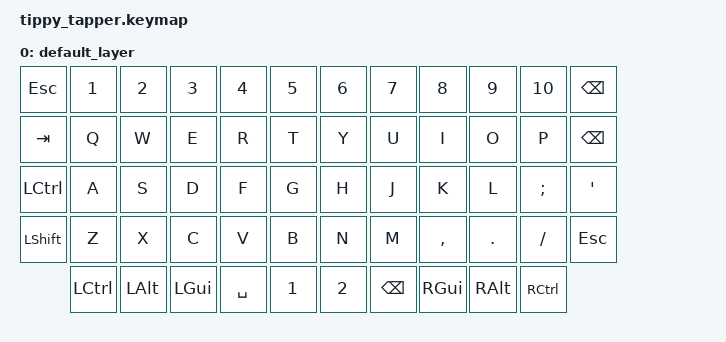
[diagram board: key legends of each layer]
/*
 * Copyright (c) 2020 The ZMK Contributors
 *
 * SPDX-License-Identifier: MIT
 */

#include <behaviors.dtsi>
#include <dt-bindings/zmk/keys.h>
#include <dt-bindings/zmk/bt.h>

/ {
        keymap {
                compatible = "zmk,keymap";

                default_layer {
// -----------------------------------------------------------------------------------------
// |  ESC |  1  |  2  |  3  |  4  |  5  |   |  6  |  7   |  8  |  9  |  0  | BSPC |
// |  TAB |  Q  |  W  |  E  |  R  |  T  |   |  Y  |  U   |  I  |  O  |  P  | BSPC |
// | CTRL |  A  |  S  |  D  |  F  |  G  |   |  H  |  J   |  K  |  L  |  ;  |  '   |
// | SHFT |  Z  |  X  |  C  |  V  |  B  |   |  N  |  M   |  ,  |  .  |  /  | ESC  |
//        | CTRL | ALT | GUI | SPC  | LWR |   | RSE | BSPC  | GUI |  ALT | CTRL |
                        bindings = <
   &kp ESC   &kp 1      &kp 2     &kp 3     &kp 4     &kp 5     &kp 6 &kp 7     &kp 8     &kp 9     &kp 10    &kp BSPC
   &kp TAB   &kp Q      &kp W     &kp E     &kp R     &kp T     &kp Y &kp U     &kp I     &kp O     &kp P    &kp BSPC
   &kp LCTRL &kp A      &kp S     &kp D     &kp F     &kp G     &kp H &kp J     &kp K     &kp L     &kp SEMI &kp SQT
   &kp LSHFT &kp Z      &kp X     &kp C     &kp V     &kp B     &kp N &kp M     &kp COMMA &kp DOT   &kp FSLH &kp ESC
             &kp LCTRL  &kp LALT  &kp LGUI  &kp SPACE &kp 1     &kp 2 &kp BSPC  &kp RGUI  &kp RALT  &kp RCTRL 
                        >;
                };
        };
};
